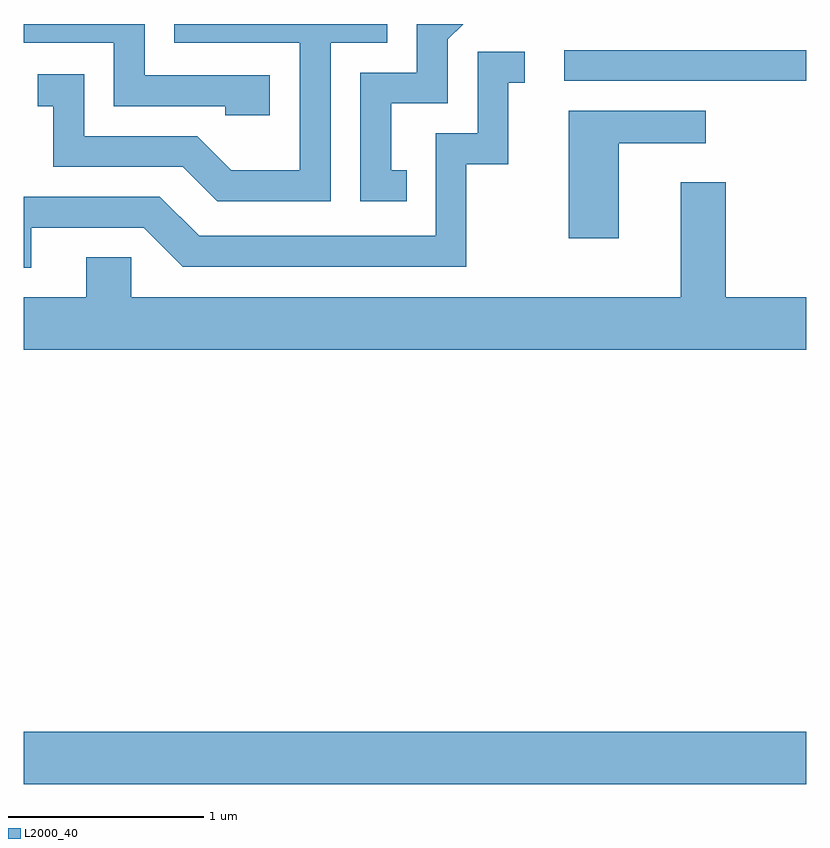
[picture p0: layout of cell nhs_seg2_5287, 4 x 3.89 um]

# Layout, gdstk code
import gdstk
lib = gdstk.Library(unit=1e-6, precision=1e-09)
def R(c, l, rs):  # rectangles x0, y0, x1, y1
    for r in rs: c.add(gdstk.rectangle(r[:2], r[2:], *l))
def P(c, l, *ps):  # polygons
    for p in ps: c.add(gdstk.Polygon(p, *l))
L2000_40 = (2000, 40)

nhs_seg2_5287 = lib.new_cell('nhs_seg2_5287')
R(nhs_seg2_5287, L2000_40, [(341.611,1003.916,345.611,1004.184), (344.373,1007.511,345.611,1007.669)])
P(nhs_seg2_5287, L2000_40, [(343.568,1007.054),(343.489,1007.054),(343.489,1007.396),(343.779,1007.396),(343.779,1007.724),(343.858,1007.802),(343.621,1007.802),(343.621,1007.554),(343.331,1007.554),(343.331,1006.896),(343.568,1006.896)],
  [(342.869,1007.539),(342.229,1007.539),(342.229,1007.802),(341.611,1007.802),(341.611,1007.706),(342.071,1007.706),(342.071,1007.381),(342.641,1007.381),(342.641,1007.336),(342.869,1007.336)],
  [(343.179,1007.706),(343.469,1007.706),(343.469,1007.802),(342.381,1007.802),(342.381,1007.706),(343.021,1007.706),(343.021,1007.054),(342.672,1007.054),(342.497,1007.229),(341.919,1007.229),(341.919,1007.544),(341.683,1007.544),(341.683,1007.381),(341.761,1007.381),(341.761,1007.071),(342.424,1007.071),(342.599,1006.896),(343.179,1006.896)],
  [(341.649,1006.761),(342.224,1006.761),(342.424,1006.561),(343.874,1006.561),(343.874,1007.086),(344.089,1007.086),(344.089,1007.501),(344.173,1007.501),(344.173,1007.659),(343.931,1007.659),(343.931,1007.244),(343.716,1007.244),(343.716,1006.719),(342.507,1006.719),(342.307,1006.919),(341.611,1006.919),(341.611,1006.556),(341.649,1006.556)],
  [(344.654,1007.191),(345.098,1007.191),(345.098,1007.359),(344.396,1007.359),(344.396,1006.706),(344.654,1006.706)],
  [(345.611,1006.404),(345.199,1006.404),(345.199,1006.994),(344.971,1006.994),(344.971,1006.404),(342.159,1006.404),(342.159,1006.609),(341.931,1006.609),(341.931,1006.404),(341.611,1006.404),(341.611,1006.136),(345.611,1006.136)])

lib.write_gds('nhs_seg2_5287.gds')
